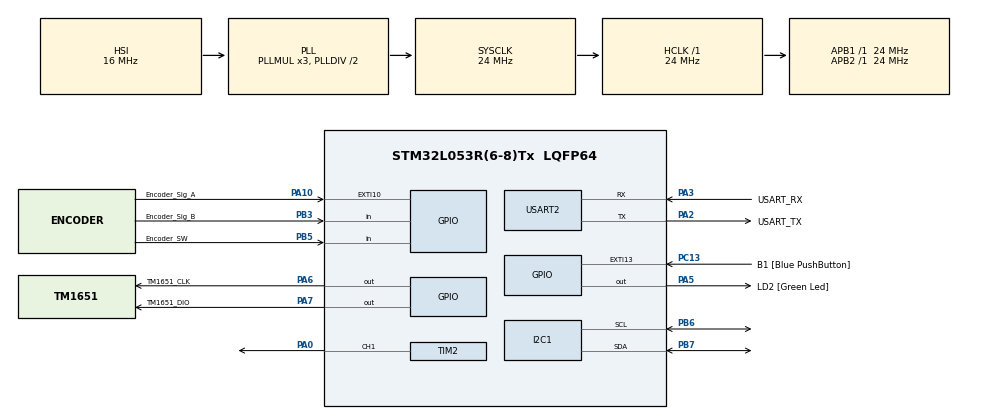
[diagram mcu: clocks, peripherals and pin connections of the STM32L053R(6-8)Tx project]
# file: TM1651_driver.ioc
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Dma.Request0=TIM2_CH1
Dma.TIM2_CH1.0.Direction=DMA_MEMORY_TO_PERIPH
Dma.TIM2_CH1.0.Instance=DMA1_Channel5
Dma.TIM2_CH1.0.MemDataAlignment=DMA_MDATAALIGN_HALFWORD
Dma.TIM2_CH1.0.MemInc=DMA_MINC_ENABLE
Dma.TIM2_CH1.0.Mode=DMA_NORMAL
Dma.TIM2_CH1.0.PeriphDataAlignment=DMA_PDATAALIGN_HALFWORD
Dma.TIM2_CH1.0.PeriphInc=DMA_PINC_DISABLE
Dma.TIM2_CH1.0.Priority=DMA_PRIORITY_LOW
I2C1.Timing=0x00805C87
Mcu.Family=STM32L0
Mcu.Name=STM32L053R(6-8)Tx
Mcu.Package=LQFP64
NVIC.DMA1_Channel4_5_6_7_IRQn=true\:0\:0\:false\:false\:true\:false\:true\:true
NVIC.EXTI4_15_IRQn=true\:0\:0\:false\:false\:true\:true\:true\:true
PA0.Signal=S_TIM2_CH1
PA10.GPIO_Label=Encoder_Sig_A
PA10.GPIO_ModeDefaultEXTI=GPIO_MODE_IT_RISING_FALLING
PA10.Signal=GPXTI10
PA13.GPIO_Label=TMS
PA13.Mode=Serial_Wire
PA13.Signal=SYS_SWDIO
PA14.GPIO_Label=TCK
PA14.Mode=Serial_Wire
PA14.Signal=SYS_SWCLK
PA2.GPIO_Label=USART_TX
PA2.Mode=Asynchronous
PA2.Signal=USART2_TX
PA3.GPIO_Label=USART_RX
PA3.Mode=Asynchronous
PA3.Signal=USART2_RX
PA5.GPIO_Label=LD2 [Green Led]
PA5.Signal=GPIO_Output
PA6.GPIO_Label=TM1651_CLK
PA6.GPIO_Speed=GPIO_SPEED_FREQ_VERY_HIGH
PA6.Signal=GPIO_Output
PA7.GPIO_Label=TM1651_DIO
PA7.GPIO_Speed=GPIO_SPEED_FREQ_VERY_HIGH
PA7.Signal=GPIO_Output
PB3.GPIO_Label=Encoder_Sig_B
PB3.Signal=GPIO_Input
PB5.GPIO_Label=Encoder_SW
PB5.Signal=GPIO_Input
PB6.Mode=I2C
PB6.Signal=I2C1_SCL
PB7.Mode=I2C
PB7.Signal=I2C1_SDA
PC13.GPIO_Label=B1 [Blue PushButton]
PC13.GPIO_ModeDefaultEXTI=GPIO_MODE_IT_FALLING
PC13.Signal=GPXTI13
PC14-OSC32_IN.Mode=LSE-External-Oscillator
PC14-OSC32_IN.Signal=RCC_OSC32_IN
PC15-OSC32_OUT.Mode=LSE-External-Oscillator
PC15-OSC32_OUT.Signal=RCC_OSC32_OUT
PH0-OSC_IN.Mode=HSE-External-Clock-Source
PH0-OSC_IN.Signal=RCC_OSC_IN
PH1-OSC_OUT.Signal=RCC_OSC_OUT
ProjectManager.HeapSize=0x200
ProjectManager.StackSize=0x400
ProjectManager.TargetToolchain=STM32CubeIDE
RCC.AHBFreq_Value=24000000
RCC.APB1Freq_Value=24000000
RCC.APB1TimFreq_Value=24000000
RCC.APB2Freq_Value=24000000
RCC.APB2TimFreq_Value=24000000
RCC.HCLKFreq_Value=24000000
RCC.HSE_VALUE=8000000
RCC.HSI16_VALUE=16000000
RCC.HSI48_VALUE=48000000
RCC.HSI_VALUE=16000000
RCC.MSI_VALUE=2097000
RCC.SYSCLKFreq_VALUE=24000000
RCC.SYSCLKSource=RCC_SYSCLKSOURCE_PLLCLK
RCC.VCOOutputFreq_Value=48000000
SH.S_TIM2_CH1.0=TIM2_CH1,PWM Generation1 CH1
TIM2.Channel-PWM\ Generation1\ CH1=TIM_CHANNEL_1
TIM2.Period=30-1
USART2.VirtualMode-Asynchronous=VM_ASYNC
VP_TIM2_VS_ClockSourceINT.Mode=Internal
VP_TIM2_VS_OPM.Mode=OPM_bit
board=NUCLEO-L053R8

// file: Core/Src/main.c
/* USER CODE BEGIN Header */
/**
 ******************************************************************************
 * @file           : main.c
 * @brief          : Main program body
 ******************************************************************************
 * @attention
 *
 * Copyright (c) 2025 STMicroelectronics.
 * All rights reserved.
 *
 * This software is licensed under terms that can be found in the LICENSE file
 * in the root directory of this software component.
 * If no LICENSE file comes with this software, it is provided AS-IS.
 *
 ******************************************************************************
 */
/* USER CODE END Header */
#include "main.h"

/* USER CODE BEGIN Includes */
#include <stdio.h>
#include "rotary_encoder.h"
#include "TM1651.h"
/* USER CODE END Includes */

I2C_HandleTypeDef hi2c1;

TIM_HandleTypeDef htim2;
DMA_HandleTypeDef hdma_tim2_ch1;

UART_HandleTypeDef huart2;

/* USER CODE BEGIN PV */
RotaryEncoder_t encoder;
TM1651 tm;
int8_t pos;
uint8_t sw_state_new, sw_state_old;
uint32_t t0_i2c_scan, t1_encoder_scan, t2_led_push, t3_led_toggle, t4_tm1651_run;
uint8_t level;

/* USER CODE END PV */

void SystemClock_Config(void);
static void MX_GPIO_Init(void);
static void MX_DMA_Init(void);
static void MX_USART2_UART_Init(void);
static void MX_I2C1_Init(void);
static void MX_TIM2_Init(void);
/* USER CODE BEGIN PFP */
void I2C_Scan(void);

/* USER CODE END PFP */

/* USER CODE BEGIN 0 */
// Function to send data over UART (for debugging)
int __io_putchar(int ch) {
	HAL_UART_Transmit(&huart2, (uint8_t*) &ch, 1, HAL_MAX_DELAY);
	return ch;
}

/* USER CODE END 0 */

int main(void)
{

  /* MCU Configuration--------------------------------------------------------*/

  /* Reset of all peripherals, Initializes the Flash interface and the Systick. */
  HAL_Init();

  /* Configure the system clock */
  SystemClock_Config();

  /* Initialize all configured peripherals */
  MX_GPIO_Init();
  MX_DMA_Init();
  MX_USART2_UART_Init();
  MX_I2C1_Init();
  MX_TIM2_Init();
  /* USER CODE BEGIN 2 */
	RotaryEncoder_Init(&encoder, GPIOA, GPIO_PIN_10, GPIOB, GPIO_PIN_3, GPIOB,
	GPIO_PIN_5);
	pos = 0;
    // Initialize TM1651 with CLK on PA6 and DIO on PA7
    TM1651_Init(&tm, GPIOA, GPIO_PIN_6, GPIOA, GPIO_PIN_7);

    // Display level 5
    TM1651_DisplayLevel(&tm, 1);
  /* USER CODE END 2 */

  /* Infinite loop */
	while (1) {

    /* USER CODE BEGIN 3 */
		if (HAL_GetTick() > t0_i2c_scan) {
			t0_i2c_scan = HAL_GetTick() + 5000;
			I2C_Scan();
		}
		if (HAL_GetTick() > t1_encoder_scan) {
			t1_encoder_scan = HAL_GetTick() + 50;
			sw_state_new = RotaryEncoder_ReadSwitch(&encoder);
			if (sw_state_old == GPIO_PIN_RESET
					&& sw_state_new == GPIO_PIN_SET) {
				printf("Button Pressed!\n");
			}
			sw_state_old = sw_state_new;

			if (encoder.direction != ROTARY_NONE) {
				printf("Encoder Direction: %s\n",
						encoder.direction == ROTARY_CW ? "CW" : "CCW");
				if (encoder.direction == ROTARY_CW) {
					if (++pos > 5)
						pos = 5;
					encoder.direction = ROTARY_NONE;
				} else {
					if (--pos < 0)
						pos = 0;
					encoder.direction = ROTARY_NONE;
				}
				printf("Encoder Pos: %d\n", pos);
			}
		}
		if(HAL_GetTick()>t2_led_push){
			t2_led_push = HAL_GetTick()+1000;

		}
		if(HAL_GetTick()>t3_led_toggle){
			t3_led_toggle = HAL_GetTick()+200;
			HAL_GPIO_TogglePin(LD2_GPIO_Port, LD2_Pin);
		}
		if(HAL_GetTick() > t4_tm1651_run){
			t4_tm1651_run = HAL_GetTick() + 1000;

			if(++level>7)level=0;
			TM1651_DisplayLevel(&tm, level);
		}
	}
  /* USER CODE END 3 */
}

void SystemClock_Config(void)
{
  RCC_OscInitTypeDef RCC_OscInitStruct = {0};
  RCC_ClkInitTypeDef RCC_ClkInitStruct = {0};
  RCC_PeriphCLKInitTypeDef PeriphClkInit = {0};

  /** Configure the main internal regulator output voltage
  */
  __HAL_PWR_VOLTAGESCALING_CONFIG(PWR_REGULATOR_VOLTAGE_SCALE1);

  /** Initializes the RCC Oscillators according to the specified parameters
  * in the RCC_OscInitTypeDef structure.
  */
  RCC_OscInitStruct.OscillatorType = RCC_OSCILLATORTYPE_HSI;
  RCC_OscInitStruct.HSIState = RCC_HSI_ON;
  RCC_OscInitStruct.HSICalibrationValue = RCC_HSICALIBRATION_DEFAULT;
  RCC_OscInitStruct.PLL.PLLState = RCC_PLL_ON;
  RCC_OscInitStruct.PLL.PLLSource = RCC_PLLSOURCE_HSI;
  RCC_OscInitStruct.PLL.PLLMUL = RCC_PLLMUL_3;
  RCC_OscInitStruct.PLL.PLLDIV = RCC_PLLDIV_2;
  if (HAL_RCC_OscConfig(&RCC_OscInitStruct) != HAL_OK)
  {
    Error_Handler();
  }

  /** Initializes the CPU, AHB and APB buses clocks
  */
  RCC_ClkInitStruct.ClockType = RCC_CLOCKTYPE_HCLK|RCC_CLOCKTYPE_SYSCLK
                              |RCC_CLOCKTYPE_PCLK1|RCC_CLOCKTYPE_PCLK2;
  RCC_ClkInitStruct.SYSCLKSource = RCC_SYSCLKSOURCE_PLLCLK;
  RCC_ClkInitStruct.AHBCLKDivider = RCC_SYSCLK_DIV1;
  RCC_ClkInitStruct.APB1CLKDivider = RCC_HCLK_DIV1;
  RCC_ClkInitStruct.APB2CLKDivider = RCC_HCLK_DIV1;

  if (HAL_RCC_ClockConfig(&RCC_ClkInitStruct, FLASH_LATENCY_1) != HAL_OK)
  {
    Error_Handler();
  }
  PeriphClkInit.PeriphClockSelection = RCC_PERIPHCLK_USART2|RCC_PERIPHCLK_I2C1;
  PeriphClkInit.Usart2ClockSelection = RCC_USART2CLKSOURCE_PCLK1;
  PeriphClkInit.I2c1ClockSelection = RCC_I2C1CLKSOURCE_PCLK1;
  if (HAL_RCCEx_PeriphCLKConfig(&PeriphClkInit) != HAL_OK)
  {
    Error_Handler();
  }
}

static void MX_I2C1_Init(void)
{

  hi2c1.Instance = I2C1;
  hi2c1.Init.Timing = 0x00805C87;
  hi2c1.Init.OwnAddress1 = 0;
  hi2c1.Init.AddressingMode = I2C_ADDRESSINGMODE_7BIT;
  hi2c1.Init.DualAddressMode = I2C_DUALADDRESS_DISABLE;
  hi2c1.Init.OwnAddress2 = 0;
  hi2c1.Init.OwnAddress2Masks = I2C_OA2_NOMASK;
  hi2c1.Init.GeneralCallMode = I2C_GENERALCALL_DISABLE;
  hi2c1.Init.NoStretchMode = I2C_NOSTRETCH_DISABLE;
  if (HAL_I2C_Init(&hi2c1) != HAL_OK)
  {
    Error_Handler();
  }

  /** Configure Analogue filter
  */
  if (HAL_I2CEx_ConfigAnalogFilter(&hi2c1, I2C_ANALOGFILTER_ENABLE) != HAL_OK)
  {
    Error_Handler();
  }

  /** Configure Digital filter
  */
  if (HAL_I2CEx_ConfigDigitalFilter(&hi2c1, 0) != HAL_OK)
  {
    Error_Handler();
  }

}

static void MX_TIM2_Init(void)
{

  TIM_ClockConfigTypeDef sClockSourceConfig = {0};
  TIM_MasterConfigTypeDef sMasterConfig = {0};
  TIM_OC_InitTypeDef sConfigOC = {0};

  htim2.Instance = TIM2;
  htim2.Init.Prescaler = 0;
  htim2.Init.CounterMode = TIM_COUNTERMODE_UP;
  htim2.Init.Period = 30-1;
  htim2.Init.ClockDivision = TIM_CLOCKDIVISION_DIV1;
  htim2.Init.AutoReloadPreload = TIM_AUTORELOAD_PRELOAD_DISABLE;
  if (HAL_TIM_Base_Init(&htim2) != HAL_OK)
  {
    Error_Handler();
  }
  sClockSourceConfig.ClockSource = TIM_CLOCKSOURCE_INTERNAL;
  if (HAL_TIM_ConfigClockSource(&htim2, &sClockSourceConfig) != HAL_OK)
  {
    Error_Handler();
  }
  if (HAL_TIM_PWM_Init(&htim2) != HAL_OK)
  {
    Error_Handler();
  }
  if (HAL_TIM_OnePulse_Init(&htim2, TIM_OPMODE_SINGLE) != HAL_OK)
  {
    Error_Handler();
  }
  sMasterConfig.MasterOutputTrigger = TIM_TRGO_RESET;
  sMasterConfig.MasterSlaveMode = TIM_MASTERSLAVEMODE_DISABLE;
  if (HAL_TIMEx_MasterConfigSynchronization(&htim2, &sMasterConfig) != HAL_OK)
  {
    Error_Handler();
  }
  sConfigOC.OCMode = TIM_OCMODE_PWM1;
  sConfigOC.Pulse = 0;
  sConfigOC.OCPolarity = TIM_OCPOLARITY_HIGH;
  sConfigOC.OCFastMode = TIM_OCFAST_DISABLE;
  if (HAL_TIM_PWM_ConfigChannel(&htim2, &sConfigOC, TIM_CHANNEL_1) != HAL_OK)
  {
    Error_Handler();
  }
  HAL_TIM_MspPostInit(&htim2);

}

static void MX_USART2_UART_Init(void)
{

  huart2.Instance = USART2;
  huart2.Init.BaudRate = 115200;
  huart2.Init.WordLength = UART_WORDLENGTH_8B;
  huart2.Init.StopBits = UART_STOPBITS_1;
  huart2.Init.Parity = UART_PARITY_NONE;
  huart2.Init.Mode = UART_MODE_TX_RX;
  huart2.Init.HwFlowCtl = UART_HWCONTROL_NONE;
  huart2.Init.OverSampling = UART_OVERSAMPLING_16;
  huart2.Init.OneBitSampling = UART_ONE_BIT_SAMPLE_DISABLE;
  huart2.AdvancedInit.AdvFeatureInit = UART_ADVFEATURE_NO_INIT;
  if (HAL_UART_Init(&huart2) != HAL_OK)
  {
    Error_Handler();
  }

}

static void MX_DMA_Init(void)
{

  /* DMA controller clock enable */
  __HAL_RCC_DMA1_CLK_ENABLE();

  /* DMA interrupt init */
  /* DMA1_Channel4_5_6_7_IRQn interrupt configuration */
  HAL_NVIC_SetPriority(DMA1_Channel4_5_6_7_IRQn, 0, 0);
  HAL_NVIC_EnableIRQ(DMA1_Channel4_5_6_7_IRQn);

}

static void MX_GPIO_Init(void)
{
  GPIO_InitTypeDef GPIO_InitStruct = {0};

  /* GPIO Ports Clock Enable */
  __HAL_RCC_GPIOC_CLK_ENABLE();
  __HAL_RCC_GPIOH_CLK_ENABLE();
  __HAL_RCC_GPIOA_CLK_ENABLE();
  __HAL_RCC_GPIOB_CLK_ENABLE();

  /*Configure GPIO pin Output Level */
  HAL_GPIO_WritePin(GPIOA, LD2_Pin|TM1651_CLK_Pin|TM1651_DIO_Pin, GPIO_PIN_RESET);

  /*Configure GPIO pin : B1_Pin */
  GPIO_InitStruct.Pin = B1_Pin;
  GPIO_InitStruct.Mode = GPIO_MODE_IT_FALLING;
  GPIO_InitStruct.Pull = GPIO_NOPULL;
  HAL_GPIO_Init(B1_GPIO_Port, &GPIO_InitStruct);

  /*Configure GPIO pin : LD2_Pin */
  GPIO_InitStruct.Pin = LD2_Pin;
  GPIO_InitStruct.Mode = GPIO_MODE_OUTPUT_PP;
  GPIO_InitStruct.Pull = GPIO_NOPULL;
  GPIO_InitStruct.Speed = GPIO_SPEED_FREQ_LOW;
  HAL_GPIO_Init(LD2_GPIO_Port, &GPIO_InitStruct);

  /*Configure GPIO pins : TM1651_CLK_Pin TM1651_DIO_Pin */
  GPIO_InitStruct.Pin = TM1651_CLK_Pin|TM1651_DIO_Pin;
  GPIO_InitStruct.Mode = GPIO_MODE_OUTPUT_PP;
  GPIO_InitStruct.Pull = GPIO_NOPULL;
  GPIO_InitStruct.Speed = GPIO_SPEED_FREQ_VERY_HIGH;
  HAL_GPIO_Init(GPIOA, &GPIO_InitStruct);

  /*Configure GPIO pin : Encoder_Sig_A_Pin */
  GPIO_InitStruct.Pin = Encoder_Sig_A_Pin;
  GPIO_InitStruct.Mode = GPIO_MODE_IT_RISING_FALLING;
  GPIO_InitStruct.Pull = GPIO_NOPULL;
  HAL_GPIO_Init(Encoder_Sig_A_GPIO_Port, &GPIO_InitStruct);

  /*Configure GPIO pins : Encoder_Sig_B_Pin Encoder_SW_Pin */
  GPIO_InitStruct.Pin = Encoder_Sig_B_Pin|Encoder_SW_Pin;
  GPIO_InitStruct.Mode = GPIO_MODE_INPUT;
  GPIO_InitStruct.Pull = GPIO_NOPULL;
  HAL_GPIO_Init(GPIOB, &GPIO_InitStruct);

  /* EXTI interrupt init*/
  HAL_NVIC_SetPriority(EXTI4_15_IRQn, 0, 0);
  HAL_NVIC_EnableIRQ(EXTI4_15_IRQn);

}

/* USER CODE BEGIN 4 */
// I2C Scanner Function using HAL_I2C_Master_Transmit
void I2C_Scan() {
	printf("\r\nStarting I2C Scan...\r\n");

	uint8_t dummy_data = 0x00; // Dummy data for transmission

	for (uint8_t address = 1; address < 127; address++) {
		uint8_t i2cAddress = address << 1; // Convert to 8-bit format for HAL

		HAL_StatusTypeDef result = HAL_I2C_Master_Transmit(&hi2c1, i2cAddress,
				&dummy_data, 1, 10);

		if (result == HAL_OK) {
			printf("I2C device found at address: 0x%02X\r\n", address);
		}
	}
	printf("I2C Scan Complete.\r\n");
}
/* USER CODE END 4 */

void Error_Handler(void)
{
	__disable_irq();
	while (1) {
	}
}
